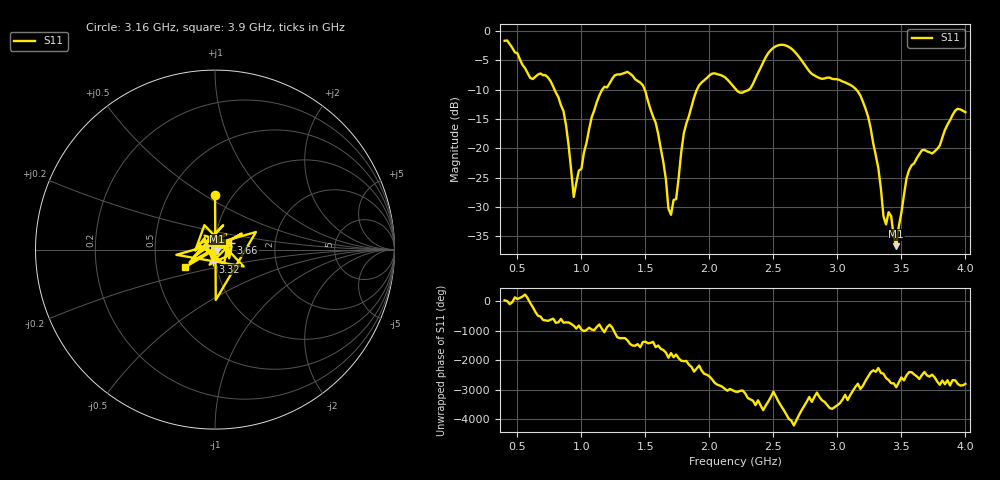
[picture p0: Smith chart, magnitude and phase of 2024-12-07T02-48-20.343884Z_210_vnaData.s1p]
!Created with skrf (http://scikit-rf.org).
# Hz S RI R 50.0
!freq ReS11 ImS11
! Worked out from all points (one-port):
!   181 points, 400 MHz to 4 GHz, reference 50 ohm
!   lowest |S11| = -36.7 dB at 3.46 GHz (marker M1), VSWR 1.03, Z = 51.3 - j0.746 ohm
!   |S11| at or under -10 dB: 790 MHz to 1.163 GHz (373 MHz wide, 38.2 % of centre); 1.494 GHz to 1.903 GHz (408 MHz wide, 24 % of centre); 3.147 GHz to end of sweep (the widest 3 of 4)
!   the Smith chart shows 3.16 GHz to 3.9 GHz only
!   S11 on the Smith chart (normalised r, x): 3.16 GHz: 0.83, +0.56; 3.32 GHz: 0.97, -0.13; 3.66 GHz: 1.19, +0.08; 3.9 GHz: 0.70, -0.14
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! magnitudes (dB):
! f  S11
! 400 MHz  -1.7
! 600 MHz  -8.0
! 740 MHz  -8.0
! 860 MHz  -13.7
! 940 MHz  -28.3
! 1.12 GHz  -12.1
! 1.3 GHz  -7.4
! 1.5 GHz  -10.3
! 1.6 GHz  -17.6
! 1.7 GHz  -31.3
! 1.76 GHz  -25.0
! 1.8 GHz  -17.5
! 1.92 GHz  -9.3
! 2.2 GHz  -9.8
! 2.32 GHz  -9.8
! 2.52 GHz  -2.6
! 2.66 GHz  -3.4
! 3.1 GHz  -9.2
! 3.16 GHz  -10.3
! 3.32 GHz  -23.4
! 3.36 GHz  -31.6
! 3.42 GHz  -31.6
! 3.46 GHz  -36.7
! 3.56 GHz  -23.7
! 3.66 GHz  -20.3
! 3.78 GHz  -20.1
! 3.9 GHz  -14.3
! 4 GHz  -13.8
